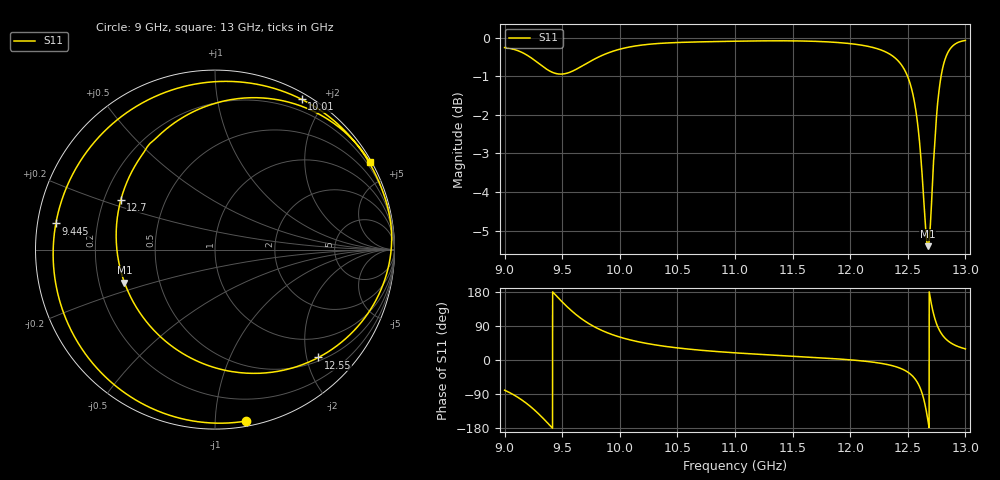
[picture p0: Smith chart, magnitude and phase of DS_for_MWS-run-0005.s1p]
! TOUCHSTONE file generated by CST DESIGN STUDIO
! Date and time: Tue Feb  4 12:44:43 2025
! Project name: C:\Work\MatlabApps\UnitCellOptimizationMatlab\CST\unitcell.cst
! Tree item: Tasks\Sweep1\SPara1\S-Parameters
! Header version: 2024
! Port assignment regex: !\s*Touchstone port\s*([0-9]+)\s*=\s*(CST MWS port|CST DES external port|CST DES block port)\s*(.+)\s* \(\"(.*)\"\)(\s*mode\s*([0-9]+))?.*
! Touchstone port assignment:
! Touchstone port 1 = CST DES external port 1 ("")
# GHz S MA R 50
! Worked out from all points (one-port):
!   4001 points, 9 GHz to 13 GHz, reference 50 ohm
!   lowest |S11| = -5.4 dB at 12.68 GHz (marker M1), VSWR 3.32, Z = 15.5 - j8.02 ohm
!   |S11| at or under -10 dB: nowhere
!   S11 on the Smith chart (normalised r, x): 9 GHz: 0.04, -1.20; 9.445 GHz: 0.05, +0.08; 10.01 GHz: 0.07, +1.73; 12.55 GHz: 0.57, -2.22; 12.7 GHz: 0.27, +0.23; 13 GHz: 0.07, +3.82
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9  0.9708 -79.7
9.126  0.9604 -100.6
9.226  0.9425 -123.2
9.346  0.9142 -157.5
9.445  0.8985 170.7
9.5  0.897 153.3
9.597  0.906 125.7
9.699  0.9237 102.2
9.845  0.9482 77.9
10  0.966 60.5
10.005  0.9665 60.0
10.219  0.9792 44.6
10.5  0.9855 32.0
11  0.9893 18.9
11.5  0.9904 10.0
12  0.9822 0.4
12.309  0.9581 -11.1
12.5  0.8895 -32.0
12.553  0.8324 -46.2
12.626  0.6591 -89.7
12.65  0.58 -118.4
12.675  0.5369 -159.9
12.702  0.5936 152.0
12.737  0.7442 107.1
12.775  0.863 78.4
12.815  0.9286 60.3
12.861  0.9639 47.6
13  0.9916 29.4
